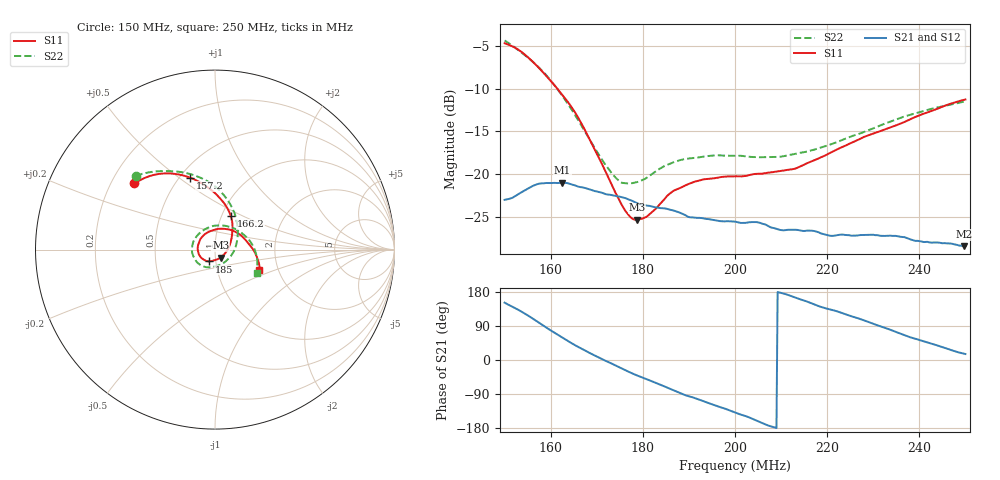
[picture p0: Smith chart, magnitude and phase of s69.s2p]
# Hz S MA R 50
! Planar, Obzor-304, 08125003, 3.51/02
! Äàòà: 26.03.2019 11:27:12
! ×àñòîòà  S11: Mag/Ang (F2)  S21: Mag/Ang (F2)  S12: Mag/Ang (F2)  S22: Mag/Ang (F2)
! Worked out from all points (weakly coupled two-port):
!   401 points, 150 MHz to 250 MHz, reference 50 ohm
!   highest |S21| = -20.98 dB at 162.5 MHz (marker M1); lowest = -28.4 dB at 249.8 MHz (marker M2)
!   lowest |S11| = -25.3 dB at 178.8 MHz (marker M3), VSWR 1.11, Z = 53.1 - j4.69 ohm
!   |S11| at or under -10 dB: 161.4 MHz to end of sweep
!   |S22| runs from -21.1 to -4.4 dB; largest |S21 - S12| = 0.00055
!   S11 on the Smith chart (normalised r, x): 150 MHz: 0.30, +0.33; 157.2 MHz: 0.57, +0.55; 166.2 MHz: 1.10, +0.43; 185 MHz: 0.93, -0.12; 250 MHz: 1.60, -0.40
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1.5e8  0.5819 140.7  0.07094 151.3  0.07101 151.6  0.6039 137.1
1.5375e8  0.5157 124.8  0.07876 127.1  0.07872 127.1  0.5111 121.1
1.5725e8  0.4229 108.9  0.08783 100.0  0.08775 100.0  0.4248 104.7
1.625e8  0.2913 85.3  0.08929 59.8  0.08924 60.1  0.2876 76.4
1.6625e8  0.2075 65.0  0.08437 32.9  0.0844 33.2  0.2008 53.1
1.6675e8  0.1962 62.1  0.08402 29.7  0.08407 30.0  0.1904 49.7
1.7425e8  0.0763 7.8  0.07449 -15.3  0.0746 -15.0  0.09466 -22.9
1.7675e8  0.05854 -24.5  0.07159 -30.2  0.07177 -29.9  0.08835 -53.5
1.7875e8  0.05429 -54.3  0.06772 -40.8  0.06794 -40.5  0.09007 -75.1
1.8075e8  0.0564 -81.0  0.06575 -50.1  0.06597 -49.8  0.09507 -92.7
1.835e8  0.06602 -105.3  0.06369 -63.7  0.06403 -63.4  0.107 -112.5
1.85e8  0.07342 -116.2  0.06307 -71.3  0.06341 -71.0  0.1125 -122.3
1.9125e8  0.09053 -153.0  0.05586 -100.4  0.05625 -100.3  0.1247 -156.3
2e8  0.09739 164.2  0.05296 -138.6  0.05331 -138.7  0.1283 162.0
2.05e8  0.1006 139.4  0.05242 -161.7  0.05267 -161.9  0.1258 136.8
2.095e8  0.1042 114.7  0.04754 178.5  0.04761 178.1  0.1265 114.1
2.1675e8  0.1193 76.9  0.04685 149.0  0.04659 148.7  0.1382 77.2
2.21e8  0.1348 57.0  0.04372 132.3  0.0433 132.2  0.15 57.9
2.335e8  0.1866 12.1  0.04385 80.8  0.04368 81.2  0.202 12.5
2.41e8  0.226 -5.5  0.04024 49.3  0.04037 50.0  0.2343 -8.8
2.4975e8  0.2722 -24.4  0.03807 16.5  0.03835 16.9  0.2659 -28.5
2.5e8  0.2732 -24.9  0.03815 15.8  0.03844 16.3  0.2669 -29.0
